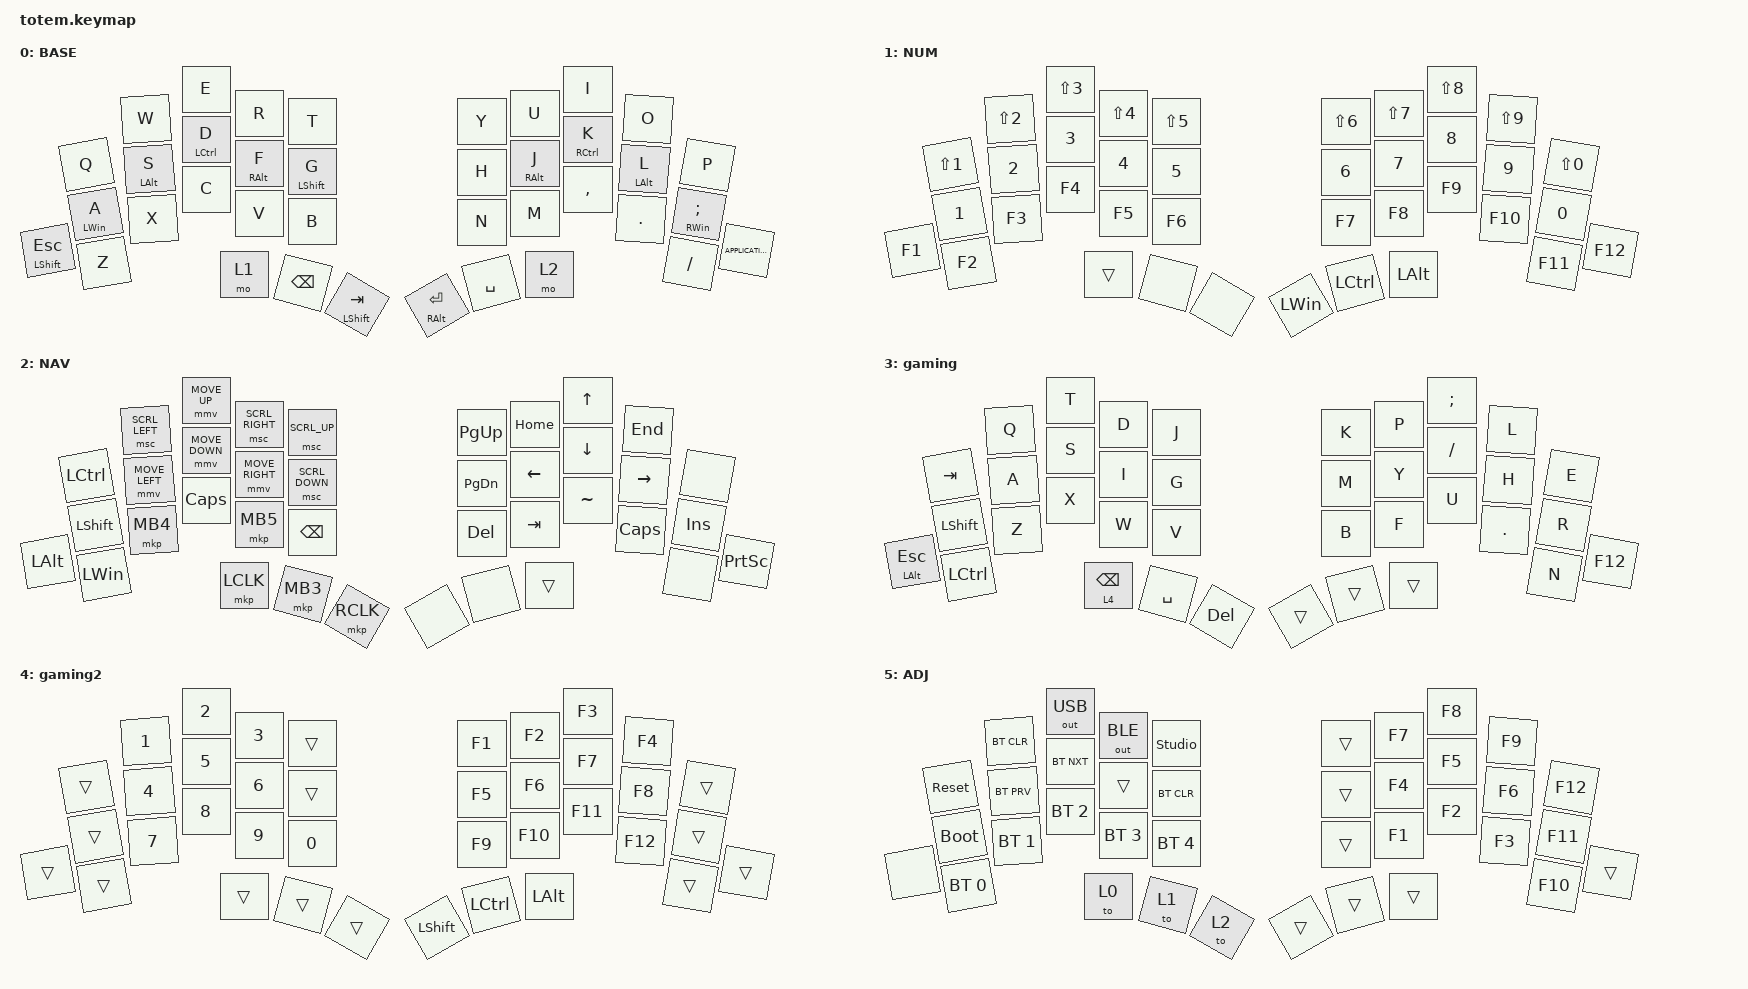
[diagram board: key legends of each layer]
//
//                                                        ▀▀▀▀▀     ▀▀▀▀▀          ▀▀█▀▀
//                                                        ▄▀▀▀▄  ▄  ▄▀▀▀▄  ▄  ▄▀▀▀▄  █  ▄▀▀▀▄
//                                                        █   █  █  █   █  █  █   █  █  █   █
//                                                         ▀▀▀   █   ▀▀▀   █   ▀▀▀   ▀   ▀▀▀
//                                                               █      ▄▄▄█▄▄▄    █   █  
//                                                               ▀      █  █  █     █▄█
//                                                             ▀▀▀▀▀    █  █  █      ▀
//                                                                      ▀  ▀  ▀
//
// ▄▄▄▄▄▄▄▄▄▄▄▄▄▄▄▄▄▄▄▄▄▄▄▄▄▄▄▄▄▄▄▄▄▄▄▄▄▄▄▄▄▄▄▄▄▄▄▄▄▄▄▄▄▄▄▄▄▄▄▄▄▄▄▄▄▄▄▄▄▄▄▄▄▄▄▄▄▄▄▄▄▄▄▄▄▄▄▄▄▄▄▄▄▄▄▄▄▄▄▄▄▄▄▄▄▄▄▄▄▄▄▄▄▄▄▄▄▄▄▄▄▄▄▄▄▄▄▄▄▄▄▄▄▄▄▄▄▄▄▄▄▄▄▄▄▄▄▄▄

#include <behaviors.dtsi>
#include <dt-bindings/zmk/bt.h>
#include <dt-bindings/zmk/keys.h>
#include <dt-bindings/zmk/outputs.h>
#include <dt-bindings/zmk/pointing.h>

#define BASE 0
#define NAV  1
#define SYM  2
#define ADJ  3
#define TVP1 4
#define TVP2 5

&mt {
    quick-tap-ms = <100>;
    global-quick-tap;
    flavor = "hold-preferred";
    tapping-term-ms = <170>;
};

/ {
    combos {
        compatible = "zmk,combos";

        combo_esc {
            timeout-ms = <50>;
            key-positions = <10 11 12>;
            bindings = <&kp ESC>;
        };

        combo_settings {
            bindings = <&tog 5>;
            key-positions = <20 31>;
        };

        combo_quotes {
            bindings = <&quotes>;
            key-positions = <1 2>;
            layers = <1>;
        };

        combo_hyper {
            bindings = <&kp LS(LA(LG(LEFT_CONTROL)))>;
            key-positions = <26 15>;
        };

        combo_tab {
            bindings = <&kp TAB>;
            key-positions = <4 14>;
        };

        combo_enter {
            bindings = <&kp ENTER>;
            key-positions = <13 24>;
        };

        combo_hyper2 {
            bindings = <&kp LS(LA(LG(LEFT_CONTROL)))>;
            key-positions = <33 34>;
        };

        toggle_gaming {
            bindings = <&tog 3>;
            key-positions = <27 28 29 30>;
        };
    };

    behaviors {
        HRM: HRM {
            compatible = "zmk,behavior-hold-tap";
            label = "HRM";
            bindings = <&kp>, <&kp>;

            #binding-cells = <2>;
            tapping-term-ms = <300>;
            flavor = "tap-preferred";
            quick-tap-ms = <200>;
        };
    };

    macros {
        quotes: quotes {
            compatible = "zmk,behavior-macro";
            #binding-cells = <0>;
            bindings = <&kp LS(NUMBER_2) &kp LS(SPACE) &kp LS(SPACE) &kp LS(NUMBER_3) &kp LEFT_ARROW &kp LEFT_ARROW>;
            label = "QUOTES";
        };
    };

    keymap {
        compatible = "zmk,keymap";

        // ▄▄▄▄▄▄▄▄▄▄▄▄▄▄▄▄▄▄▄▄▄▄▄▄▄▄▄▄▄▄▄▄▄▄▄▄▄▄▄▄▄▄▄▄▄▄▄▄▄▄▄▄▄▄▄▄▄▄▄▄▄▄▄▄▄▄▄▄▄▄▄▄▄▄▄▄▄▄▄▄▄▄▄▄▄▄▄▄▄▄▄▄▄▄▄▄▄▄▄▄▄▄▄▄▄▄▄▄▄▄▄▄▄▄▄▄▄▄▄▄▄▄▄▄▄▄▄▄▄▄▄▄▄▄▄▄▄▄▄▄▄▄▄▄▄▄▄▄▄

        base_layer {
            // ┏━━━━━━━━━━━━━━━━━━━━━━━━━━━━━━━━━━━━━━━┓

            label = "BASE";

            // ┗━━━━━━━━━━━━━━━━━━━━━━━━━━━━━━━━━━━━━━━┛
            //             ┏━━━━━━━━━━━┳━━━━━━━━━━━┳━━━━━━━━━━━┳━━━━━━━━━━━┳━━━━━━━━━━━┓   ┏━━━━━━━━━━━┳━━━━━━━━━━━┳━━━━━━━━━━━┳━━━━━━━━━━━┳━━━━━━━━━━━┓
            //             ┃     Q     ┃     W     ┃     F     ┃     P     ┃     G     ┃   ┃     J     ┃     L     ┃     U     ┃     Y     ┃     ;     ┃
            //             ┣━━━━━━━━━━━╋━━━━━━━━━━━╋━━━━━━━━━━━╋━━━━━━━━━━━╋━━━━━━━━━━━┫   ┣━━━━━━━━━━━╋━━━━━━━━━━━╋━━━━━━━━━━━╋━━━━━━━━━━━╋━━━━━━━━━━━┫
            //             ┃     A     ┃     R     ┃     S     ┃     T     ┃     D     ┃   ┃     H     ┃     N     ┃     E     ┃     I     ┃     O     ┃
            // ┏━━━━━━━━━━━╋━━━━━━━━━━━╋━━━━━━━━━━━╋━━━━━━━━━━━╋━━━━━━━━━━━╋━━━━━━━━━━━┫   ┣━━━━━━━━━━━╋━━━━━━━━━━━╋━━━━━━━━━━━╋━━━━━━━━━━━╋━━━━━━━━━━━╋━━━━━━━━━━━┓
            // ┃     Q     ┃     Z     ┃     X     ┃     C     ┃     V     ┃     B     ┃   ┃     K     ┃     M     ┃     ,     ┃     .     ┃     /     ┃     \     ┃
            // ┗━━━━━━━━━━━┻━━━━━━━━━━━┻━━━━━━━━━━━╋━━━━━━━━━━━╋━━━━━━━━━━━╋━━━━━━━━━━━┫   ┣━━━━━━━━━━━╋━━━━━━━━━━━╋━━━━━━━━━━━╋━━━━━━━━━━━┻━━━━━━━━━━━┻━━━━━━━━━━━┛
            //                                     ┃    DEL    ┃    TAB    ┃    SPC    ┃   ┃   ENTER   ┃           ┃   BSPC    ┃
            //                                     ┗━━━━━━━━━━━┻━━━━━━━━━━━┻━━━━━━━━━━━┛   ┗━━━━━━━━━━━┻━━━━━━━━━━━┻━━━━━━━━━━━┛

            bindings = <
                       &kp Q            &kp W        &kp E         &kp R          &kp T                 &kp Y              &kp U        &kp I         &kp O            &kp P
                       &HRM LEFT_WIN A  &HRM LALT S  &HRM LCTRL D  &HRM RALT F    &HRM LEFT_SHIFT G     &kp H              &HRM RALT J  &HRM RCTRL K  &HRM LEFT_ALT L  &HRM RIGHT_WIN SEMICOLON
&mt LEFT_SHIFT ESCAPE  &kp Z            &kp X        &kp C         &kp V          &kp B                 &kp N              &kp M        &kp COMMA     &kp DOT          &kp FSLH                  &kp K_APPLICATION
                                                     &mo 1         &kp BACKSPACE  &mt LEFT_SHIFT TAB    &mt RIGHT_ALT RET  &kp SPACE    &mo 2
            >;
        };

        num_layer {
            // ┏━━━━━━━━━━━━━━━━━━━━━━━━━━━━━━━━━━━━━━━┓

            label = "NUM";

            // ┗━━━━━━━━━━━━━━━━━━━━━━━━━━━━━━━━━━━━━━━┛
            //             ┏━━━━━━━━━━━┳━━━━━━━━━━━┳━━━━━━━━━━━┳━━━━━━━━━━━┳━━━━━━━━━━━┓   ┏━━━━━━━━━━━┳━━━━━━━━━━━┳━━━━━━━━━━━┳━━━━━━━━━━━┳━━━━━━━━━━━┓
            //             ┃     !     ┃     @     ┃     #     ┃     $     ┃     %     ┃   ┃     ˆ     ┃     &     ┃     Ü     ┃     '     ┃     "     ┃
            //             ┣━━━━━━━━━━━╋━━━━━━━━━━━╋━━━━━━━━━━━╋━━━━━━━━━━━╋━━━━━━━━━━━┫   ┣━━━━━━━━━━━╋━━━━━━━━━━━╋━━━━━━━━━━━╋━━━━━━━━━━━╋━━━━━━━━━━━┫
            //             ┃     Ä     ┃           ┃    SZ     ┃           ┃           ┃   ┃   MUTE    ┃   YEN     ┃   EURO    ┃  POUND    ┃     Ö     ┃
            // ┏━━━━━━━━━━━╋━━━━━━━━━━━╋━━━━━━━━━━━╋━━━━━━━━━━━╋━━━━━━━━━━━╋━━━━━━━━━━━┫   ┣━━━━━━━━━━━╋━━━━━━━━━━━╋━━━━━━━━━━━╋━━━━━━━━━━━╋━━━━━━━━━━━╋━━━━━━━━━━━┓
            // ┃           ┃  EMAIL1   ┃  EMAIL2   ┃           ┃           ┃           ┃   ┃   VOL-    ┃   VOL+    ┃   LAST    ┃   NEXT    ┃     \     ┃           ┃
            // ┗━━━━━━━━━━━┻━━━━━━━━━━━┻━━━━━━━━━━━╋━━━━━━━━━━━╋━━━━━━━━━━━╋━━━━━━━━━━━┫   ┣━━━━━━━━━━━╋━━━━━━━━━━━╋━━━━━━━━━━━╋━━━━━━━━━━━┻━━━━━━━━━━━┻━━━━━━━━━━━┛
            //                                     ┃           ┃    GIF    ┃    ADJ    ┃   ┃           ┃           ┃           ┃
            //                                     ┗━━━━━━━━━━━┻━━━━━━━━━━━┻━━━━━━━━━━━┛   ┗━━━━━━━━━━━┻━━━━━━━━━━━┻━━━━━━━━━━━┛

            bindings = <
        &kp LS(NUMBER_1)  &kp LS(NUMBER_2)  &kp LS(NUMBER_3)  &kp LS(NUMBER_4)  &kp LS(N5)    &kp LS(NUMBER_6)  &kp LS(N7)        &kp LS(N8)    &kp LS(N9)  &kp LS(N0)
        &kp NUMBER_1      &kp NUMBER_2      &kp NUMBER_3      &kp NUMBER_4      &kp N5        &kp NUMBER_6      &kp N7            &kp N8        &kp N9      &kp N0
&kp F1  &kp F2            &kp F3            &kp F4            &kp F5            &kp F6        &kp F7            &kp F8            &kp F9        &kp F10     &kp F11     &kp F12
                                            &trans            &none             &none         &kp LEFT_WIN      &kp LEFT_CONTROL  &kp LEFT_ALT
            >;
        };

        nav_layer {
            // ┏━━━━━━━━━━━━━━━━━━━━━━━━━━━━━━━━━━━━━━━┓

            label = "NAV";

            // ┗━━━━━━━━━━━━━━━━━━━━━━━━━━━━━━━━━━━━━━━┛
            //             ┏━━━━━━━━━━━┳━━━━━━━━━━━┳━━━━━━━━━━━┳━━━━━━━━━━━┳━━━━━━━━━━━┓   ┏━━━━━━━━━━━┳━━━━━━━━━━━┳━━━━━━━━━━━┳━━━━━━━━━━━┳━━━━━━━━━━━┓
            //             ┃           ┃           ┃     UP    ┃           ┃     {     ┃   ┃     }     ┃     7     ┃     8     ┃     9     ┃     +     ┃
            //             ┣━━━━━━━━━━━╋━━━━━━━━━━━╋━━━━━━━━━━━╋━━━━━━━━━━━╋━━━━━━━━━━━┫   ┣━━━━━━━━━━━╋━━━━━━━━━━━╋━━━━━━━━━━━╋━━━━━━━━━━━╋━━━━━━━━━━━┫
            //             ┃   SHIFT   ┃   LEFT    ┃    DOWN   ┃   RIGHT   ┃     [     ┃   ┃     ]     ┃     4     ┃     5     ┃     6     ┃     -     ┃
            // ┏━━━━━━━━━━━╋━━━━━━━━━━━╋━━━━━━━━━━━╋━━━━━━━━━━━╋━━━━━━━━━━━╋━━━━━━━━━━━┫   ┣━━━━━━━━━━━╋━━━━━━━━━━━╋━━━━━━━━━━━╋━━━━━━━━━━━╋━━━━━━━━━━━╋━━━━━━━━━━━┓
            // ┃           ┃           ┃   P UP    ┃  C LOCK   ┃  P DOWN   ┃     (     ┃   ┃     )     ┃     1     ┃     2     ┃     3     ┃     *     ┃           ┃
            // ┗━━━━━━━━━━━┻━━━━━━━━━━━┻━━━━━━━━━━━╋━━━━━━━━━━━╋━━━━━━━━━━━╋━━━━━━━━━━━┫   ┣━━━━━━━━━━━╋━━━━━━━━━━━╋━━━━━━━━━━━╋━━━━━━━━━━━┻━━━━━━━━━━━┻━━━━━━━━━━━┛
            //                                     ┃           ┃    TAB    ┃    SPC    ┃   ┃    DEL    ┃     0     ┃           ┃
            //                                     ┗━━━━━━━━━━━┻━━━━━━━━━━━┻━━━━━━━━━━━┛   ┗━━━━━━━━━━━┻━━━━━━━━━━━┻━━━━━━━━━━━┛

            bindings = <
              &kp LEFT_CONTROL  &msc SCRL_LEFT  &mmv MOVE_UP    &msc SCRL_RIGHT  &msc SCRL_UP      &kp PG_UP      &kp HOME        &kp UP_ARROW    &kp END    &none
              &kp LSHFT         &mmv MOVE_LEFT  &mmv MOVE_DOWN  &mmv MOVE_RIGHT  &msc SCRL_DOWN    &kp PAGE_DOWN  &kp LEFT_ARROW  &kp DOWN_ARROW  &kp RIGHT  &kp INS
&kp LEFT_ALT  &kp LEFT_WIN      &mkp MB4        &kp CAPS        &mkp MB5         &kp BACKSPACE     &kp DELETE     &kp TAB         &kp TILDE       &kp CAPS   &none    &kp PRINTSCREEN
                                                &mkp LCLK       &mkp MB3         &mkp RCLK         &none          &none           &trans
            >;
        };

        gaming {
            bindings = <
                     &kp TAB           &kp Q  &kp T            &kp D      &kp J         &kp K   &kp P   &kp SEMICOLON  &kp L       &kp E
                     &kp LEFT_SHIFT    &kp A  &kp S            &kp I      &kp G         &kp M   &kp Y   &kp SLASH      &kp H       &kp R
&mt LEFT_ALT ESCAPE  &kp LEFT_CONTROL  &kp Z  &kp X            &kp W      &kp V         &kp B   &kp F   &kp U          &kp PERIOD  &kp N  &kp F12
                                              &lt 4 BACKSPACE  &kp SPACE  &kp DELETE    &trans  &trans  &trans
            >;
        };

        gaming2 {
            bindings = <
        &trans  &kp N1  &kp N2  &kp N3  &trans    &kp F1     &kp F2     &kp F3    &kp F4   &trans
        &trans  &kp N4  &kp N5  &kp N6  &trans    &kp F5     &kp F6     &kp F7    &kp F8   &trans
&trans  &trans  &kp N7  &kp N8  &kp N9  &kp N0    &kp F9     &kp F10    &kp F11   &kp F12  &trans  &trans
                        &trans  &trans  &trans    &kp LSHFT  &kp LCTRL  &kp LALT
            >;
        };

        settings {
            // ┏━━━━━━━━━━━━━━━━━━━━━━━━━━━━━━━━━━━━━━━┓

            label = "ADJ";

            // ┗━━━━━━━━━━━━━━━━━━━━━━━━━━━━━━━━━━━━━━━┛
            //             ┏━━━━━━━━━━━┳━━━━━━━━━━━┳━━━━━━━━━━━┳━━━━━━━━━━━┳━━━━━━━━━━━┓   ┏━━━━━━━━━━━┳━━━━━━━━━━━┳━━━━━━━━━━━┳━━━━━━━━━━━┳━━━━━━━━━━━┓
            //             ┃   RESET   ┃ BT CLEAR  ┃  OUT TOG  ┃           ┃           ┃   ┃           ┃    F7     ┃    F8     ┃    F9     ┃    F12    ┃
            //             ┣━━━━━━━━━━━╋━━━━━━━━━━━╋━━━━━━━━━━━╋━━━━━━━━━━━╋━━━━━━━━━━━┫   ┣━━━━━━━━━━━╋━━━━━━━━━━━╋━━━━━━━━━━━╋━━━━━━━━━━━╋━━━━━━━━━━━┫
            //             ┃ BOOTLOAD  ┃ BT NEXT   ┃           ┃           ┃           ┃   ┃           ┃    F4     ┃    F5     ┃    F6     ┃    F11    ┃
            // ┏━━━━━━━━━━━╋━━━━━━━━━━━╋━━━━━━━━━━━╋━━━━━━━━━━━╋━━━━━━━━━━━╋━━━━━━━━━━━┫   ┣━━━━━━━━━━━╋━━━━━━━━━━━╋━━━━━━━━━━━╋━━━━━━━━━━━╋━━━━━━━━━━━╋━━━━━━━━━━━┓
            // ┃           ┃           ┃ BT PREV   ┃           ┃           ┃           ┃   ┃           ┃    F1     ┃    F2     ┃    F3     ┃    F10    ┃           ┃
            // ┗━━━━━━━━━━━┻━━━━━━━━━━━┻━━━━━━━━━━━╋━━━━━━━━━━━╋━━━━━━━━━━━╋━━━━━━━━━━━┫   ┣━━━━━━━━━━━╋━━━━━━━━━━━╋━━━━━━━━━━━╋━━━━━━━━━━━┻━━━━━━━━━━━┻━━━━━━━━━━━┛
            //                                     ┃           ┃           ┃           ┃   ┃           ┃           ┃           ┃
            //                                     ┗━━━━━━━━━━━┻━━━━━━━━━━━┻━━━━━━━━━━━┛   ┗━━━━━━━━━━━┻━━━━━━━━━━━┻━━━━━━━━━━━┛

            bindings = <
       &sys_reset    &bt BT_CLR    &out OUT_USB  &out OUT_BLE  &studio_unlock    &trans  &kp F7  &kp F8  &kp F9  &kp F12
       &bootloader   &bt BT_PRV    &bt BT_NXT    &trans        &bt BT_CLR        &trans  &kp F4  &kp F5  &kp F6  &kp F11
&none  &bt BT_SEL 0  &bt BT_SEL 1  &bt BT_SEL 2  &bt BT_SEL 3  &bt BT_SEL 4      &trans  &kp F1  &kp F2  &kp F3  &kp F10  &trans
                                   &to 0         &to 1         &to 2             &trans  &trans  &trans
            >;
        };

        // ▄▄▄▄▄▄▄▄▄▄▄▄▄▄▄▄▄▄▄▄▄▄▄▄▄▄▄▄▄▄▄▄▄▄▄▄▄▄▄▄▄▄▄▄▄▄▄▄▄▄▄▄▄▄▄▄▄▄▄▄▄▄▄▄▄▄▄▄▄▄▄▄▄▄▄▄▄▄▄▄▄▄▄▄▄▄▄▄▄▄▄▄▄▄▄▄▄▄▄▄▄▄▄▄▄▄▄▄▄▄▄▄▄▄▄▄▄▄▄▄▄▄▄▄▄▄▄▄▄▄▄▄▄▄▄▄▄▄▄▄▄▄▄▄▄▄▄▄▄
        // ▄▄▄▄▄▄▄▄▄▄▄▄▄▄▄▄▄▄▄▄▄▄▄▄▄▄▄▄▄▄▄▄▄▄▄▄▄▄▄▄▄▄▄▄▄▄▄▄▄▄▄▄▄▄▄▄▄▄▄▄▄▄▄▄▄▄▄▄▄▄▄▄▄▄▄▄▄▄▄▄▄▄▄▄▄▄▄▄▄▄▄▄▄▄▄▄▄▄▄▄▄▄▄▄▄▄▄▄▄▄▄▄▄▄▄▄▄▄▄▄▄▄▄▄▄▄▄▄▄▄▄▄▄▄▄▄▄▄▄▄▄▄▄▄▄▄▄▄▄
    };
};
